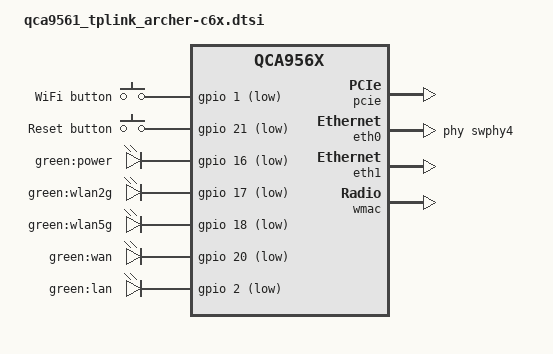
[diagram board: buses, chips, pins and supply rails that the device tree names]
// SPDX-License-Identifier: GPL-2.0-or-later OR MIT

#include "qca956x.dtsi"

#include <dt-bindings/gpio/gpio.h>
#include <dt-bindings/input/input.h>

/ {
	aliases {
		led-boot = &led_power;
		led-failsafe = &led_power;
		led-running = &led_power;
		led-upgrade = &led_power;
	};

	keys {
		compatible = "gpio-keys";

		wifi {
			label = "WiFi button";
			linux,code = <KEY_RFKILL>;
			gpios = <&gpio 1 GPIO_ACTIVE_LOW>;
		};

		reset {
			label = "Reset button";
			linux,code = <KEY_RESTART>;
			gpios = <&gpio 21 GPIO_ACTIVE_LOW>;
		};
	};

	leds: leds {
		compatible = "gpio-leds";

		led_power: power {
			label = "green:power";
			gpios = <&gpio 16 GPIO_ACTIVE_LOW>;
			default-state = "on";
		};

		wlan2g {
			label = "green:wlan2g";
			gpios = <&gpio 17 GPIO_ACTIVE_LOW>;
			linux,default-trigger = "phy1tpt";
		};

		wlan5g {
			label = "green:wlan5g";
			gpios = <&gpio 18 GPIO_ACTIVE_LOW>;
			linux,default-trigger = "phy0tpt";
		};

		wan_green {
			label = "green:wan";
			gpios = <&gpio 20 GPIO_ACTIVE_LOW>;
		};

		lan {
			label = "green:lan";
			gpios = <&gpio 2 GPIO_ACTIVE_LOW>;
		};
	};
};

&pcie {
	status = "okay";
};

&eth0 {
	status = "okay";

	phy-handle = <&swphy4>;
};

&eth1 {
	status = "okay";
};

&wmac {
	status = "okay";
};
